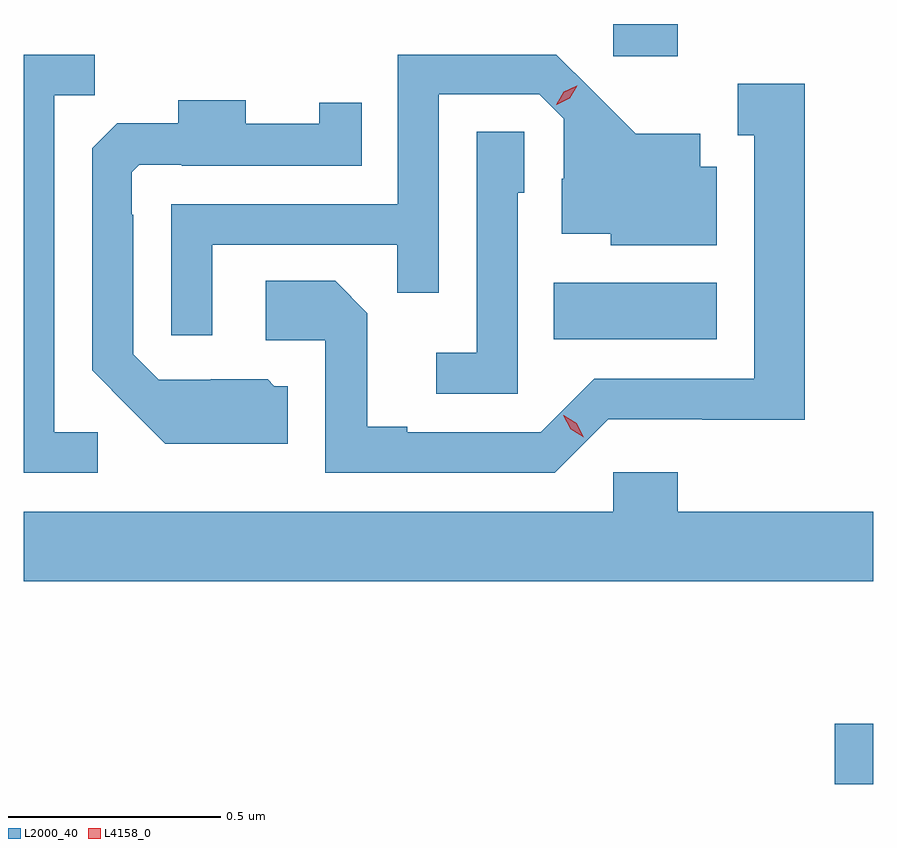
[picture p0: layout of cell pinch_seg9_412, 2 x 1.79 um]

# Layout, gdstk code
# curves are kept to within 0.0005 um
import gdstk
lib = gdstk.Library(unit=1e-6, precision=1e-09)
def R(c, l, rs):  # rectangles x0, y0, x1, y1
    for r in rs: c.add(gdstk.rectangle(r[:2], r[2:], *l))
def P(c, l, *ps):  # polygons
    for p in ps: c.add(gdstk.Polygon(p, *l))
L2000_40 = (2000, 40)
L4158_0 = (4158, 0)

pinch_seg9_412 = lib.new_cell('pinch_seg9_412')
R(pinch_seg9_412, L2000_40, [(336.054,1237.235,336.144,1237.377), (335.392,1238.282,335.776,1238.416), (335.532,1238.949,335.684,1239.025)])
P(pinch_seg9_412, L2000_40, [(334.318,1238.064),(334.215,1238.064),(334.215,1238.857),(334.311,1238.857),(334.311,1238.952),(334.144,1238.952),(334.144,1237.968),(334.318,1237.968)],
  [(334.587,1238.505),(335.023,1238.505),(335.023,1238.392),(335.121,1238.392),(335.121,1238.859),(335.358,1238.859),(335.415,1238.802),(335.415,1238.66),(335.411,1238.66),(335.411,1238.531),(335.526,1238.531),(335.526,1238.504),(335.776,1238.504),(335.776,1238.689),(335.737,1238.689),(335.737,1238.767),(335.585,1238.767),(335.398,1238.952),(335.025,1238.952),(335.025,1238.601),(334.491,1238.601),(334.491,1238.292),(334.587,1238.292)],
  [(335.52,1238.094),(335.742,1238.094),(335.742,1238.093),(335.983,1238.093),(335.983,1238.884),(335.825,1238.884),(335.825,1238.763),(335.864,1238.763),(335.864,1238.19),(335.487,1238.19),(335.361,1238.064),(335.047,1238.064),(335.047,1238.077),(334.953,1238.077),(334.953,1238.344),(334.877,1238.42),(334.713,1238.42),(334.713,1238.28),(334.854,1238.28),(334.854,1237.968),(335.394,1237.968)],
  [(334.765,1238.172),(334.734,1238.172),(334.718,1238.188),(334.584,1238.188),(334.584,1238.187),(334.461,1238.187),(334.401,1238.247),(334.401,1238.576),(334.398,1238.576),(334.398,1238.676),(334.416,1238.694),(334.516,1238.694),(334.516,1238.691),(334.94,1238.691),(334.94,1238.839),(334.839,1238.839),(334.839,1238.79),(334.666,1238.79),(334.666,1238.845),(334.508,1238.845),(334.508,1238.791),(334.364,1238.791),(334.305,1238.732),(334.305,1238.21),(334.477,1238.036),(334.765,1238.036)],
  [(335.307,1238.628),(335.322,1238.628),(335.322,1238.771),(335.211,1238.771),(335.211,1238.251),(335.115,1238.251),(335.115,1238.154),(335.307,1238.154)],
  [(336.144,1237.876),(335.684,1237.876),(335.684,1237.969),(335.532,1237.969),(335.532,1237.876),(334.144,1237.876),(334.144,1237.712),(336.144,1237.712)])
P(pinch_seg9_412, L4158_0, [(335.463,1238.052),(335.432,1238.071),(335.414,1238.104),(335.414,1238.104),(335.415,1238.104),(335.446,1238.085),(335.463,1238.052),(335.463,1238.052)],
  [(335.398,1238.835),(335.398,1238.835),(335.416,1238.865),(335.446,1238.88),(335.447,1238.88),(335.447,1238.88),(335.429,1238.85),(335.399,1238.835)])

lib.write_gds('pinch_seg9_412.gds')
